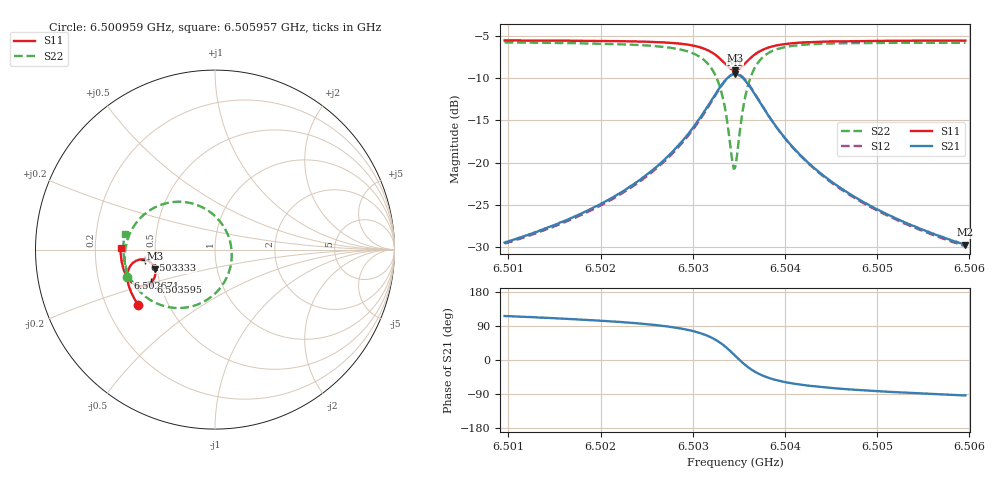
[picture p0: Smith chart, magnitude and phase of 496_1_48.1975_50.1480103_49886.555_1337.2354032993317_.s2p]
#  HZ  S  RI  R  50.00
! Rohde & Schwarz Vector Network Analyzer
! Rohde-Schwarz,ZNB20-2Port,1311601062101988,3.16
! Created: UTC 3/20/2024, 11:58:15 AM
! freq[Hz]  re:S11  im:S11  re:S21  im:S21  re:S12  im:S12  re:S22  im:S22
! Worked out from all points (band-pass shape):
!   401 points, 6.500959 GHz to 6.505957 GHz, reference 50 ohm
!   highest |S21| = -9.54 dB at 6.503458 GHz (marker M1); lowest = -29.7 dB at 6.505957 GHz (marker M2)
!   |S21| within 3 dB of the highest: 6.503209 GHz to 6.503708 GHz (499.7 kHz wide, 0.00768 % of centre)
!   lowest |S11| = -9.1 dB at 6.503458 GHz (marker M3), VSWR 2.09, Z = 24.4 - j5.91 ohm
!   |S11| at or under -10 dB: nowhere
!   |S22| runs from -20.7 to -5.8 dB; largest |S21 - S12| = 0.011
!   S11 on the Smith chart (normalised r, x): 6.500959 GHz: 0.34, -0.29; 6.502671 GHz: 0.33, -0.14; 6.503333 GHz: 0.44, -0.06; 6.503595 GHz: 0.45, -0.19; 6.505957 GHz: 0.31, +0.01
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6.5009589e9  -0.4264 -0.3098  -0.0148 0.0302  -0.0132 0.0303  -0.4896 -0.1545
6.501796e9  -0.4625 -0.248  -0.0142 0.0481  -0.012 0.0476  -0.5027 -0.0654
6.5022459e9  -0.4785 -0.208  -0.0113 0.0669  -0.00847 0.0658  -0.4999 -0.00173
6.5026332e9  -0.4878 -0.1652  -0.00216 0.0973  0.00118 0.095  -0.48 0.0758
6.5026707e9  -0.4881 -0.1603  -0.000348 0.1014  0.00318 0.099  -0.4762 0.0851
6.5029456e9  -0.484 -0.1172  0.0264 0.1441  0.03 0.1398  -0.4203 0.1713
6.503133e9  -0.4624 -0.079  0.0812 0.1865  0.0832 0.1806  -0.3161 0.2439
6.5032455e9  -0.4296 -0.0582  0.1508 0.2043  0.1511 0.1984  -0.1908 0.2666
6.5033329e9  -0.3887 -0.0566  0.2309 0.188  0.2309 0.1836  -0.0524 0.226
6.5034329e9  -0.342 -0.0912  0.3159 0.1002  0.3187 0.0961  0.0816 0.0546
6.5034579e9  -0.3353 -0.1061  0.3264 0.0674  0.3298 0.0625  0.0926 -0.00647
6.5034829e9  -0.3322 -0.1219  0.3301 0.0334  0.3339 0.0275  0.091 -0.0686
6.5035203e9  -0.3342 -0.1456  0.3232 -0.0162  0.3269 -0.0242  0.0649 -0.156
6.5035578e9  -0.3429 -0.1663  0.3043 -0.0587  0.3065 -0.0686  0.0174 -0.2276
6.5035953e9  -0.3558 -0.1822  0.2779 -0.0917  0.2783 -0.1025  -0.0422 -0.2781
6.5037078e9  -0.4008 -0.2021  0.1924 -0.1371  0.1876 -0.1465  -0.2153 -0.3253
6.5038702e9  -0.4476 -0.1928  0.1096 -0.1338  0.103 -0.1389  -0.3647 -0.2783
6.5040451e9  -0.4753 -0.1714  0.0647 -0.1133  0.0586 -0.1157  -0.4374 -0.2127
6.504295e9  -0.4962 -0.1415  0.0341 -0.0888  0.0297 -0.0893  -0.4812 -0.1399
6.5046699e9  -0.5119 -0.1021  0.0151 -0.0652  0.0118 -0.0649  -0.504 -0.0648
6.5051322e9  -0.5213 -0.0593  0.00512 -0.0486  0.00289 -0.0478  -0.5102 0.000935
6.5059568e9  -0.5265 0.0107  -0.00195 -0.0326  -0.00321 -0.0319  -0.5027 0.0886
